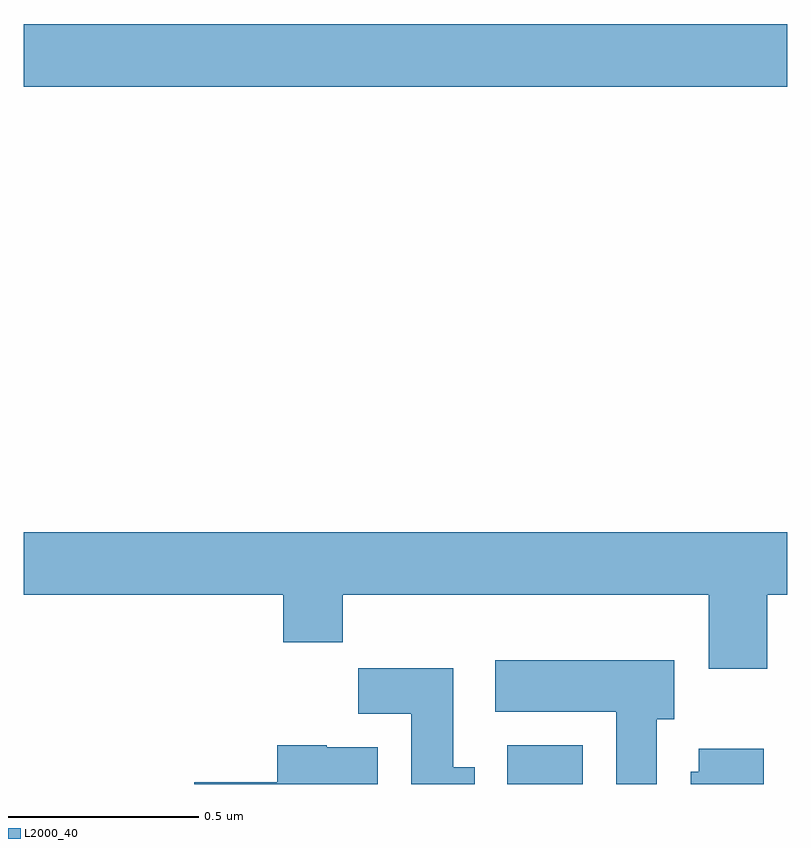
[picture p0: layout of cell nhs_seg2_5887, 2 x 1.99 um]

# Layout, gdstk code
import gdstk
lib = gdstk.Library(unit=1e-6, precision=1e-09)
def R(c, l, rs):  # rectangles x0, y0, x1, y1
    for r in rs: c.add(gdstk.rectangle(r[:2], r[2:], *l))
def P(c, l, *ps):  # polygons
    for p in ps: c.add(gdstk.Polygon(p, *l))
L2000_40 = (2000, 40)

nhs_seg2_5887 = lib.new_cell('nhs_seg2_5887')
R(nhs_seg2_5887, L2000_40, [(185.267,653.8,185.464,653.902), (184,655.628,186,655.792)])
P(nhs_seg2_5887, L2000_40, [(185.948,654.296),(186,654.296),(186,654.46),(184,654.46),(184,654.296),(184.679,654.296),(184.679,654.172),(184.835,654.172),(184.835,654.296),(185.795,654.296),(185.795,654.102),(185.948,654.102)],
  [(185.659,653.97),(185.704,653.97),(185.704,654.124),(185.235,654.124),(185.235,653.99),(185.552,653.99),(185.552,653.8),(185.659,653.8)],
  [(185.182,653.844),(185.125,653.844),(185.125,654.103),(184.876,654.103),(184.876,653.984),(185.015,653.984),(185.015,653.8),(185.182,653.8)],
  [(184.927,653.896),(184.794,653.896),(184.794,653.902),(184.664,653.902),(184.664,653.804),(184.446,653.804),(184.446,653.8),(184.927,653.8)],
  [(185.939,653.893),(185.768,653.893),(185.768,653.832),(185.747,653.832),(185.747,653.8),(185.939,653.8)])

lib.write_gds('nhs_seg2_5887.gds')
